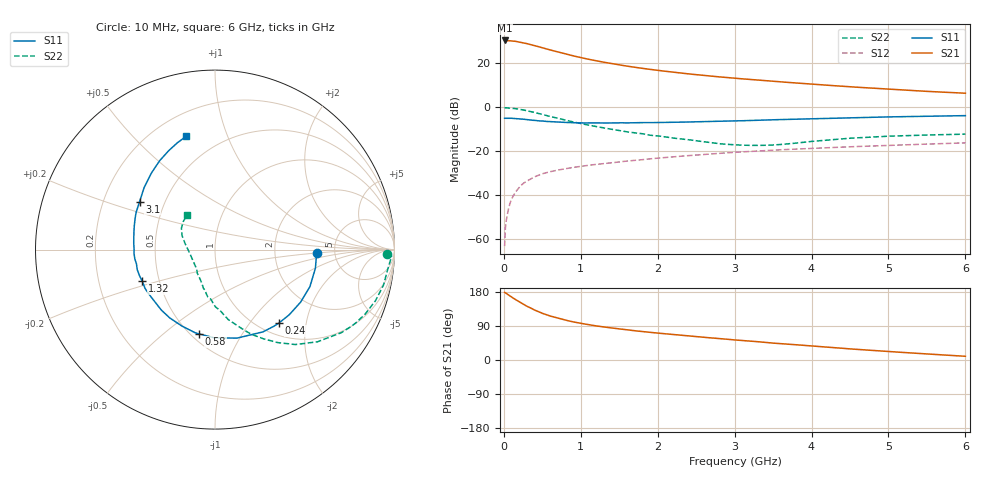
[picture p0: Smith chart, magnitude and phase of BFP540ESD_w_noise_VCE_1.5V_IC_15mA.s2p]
! Infineon Technologies  Discrete & RF Semiconductors
! BFP540ESD
! VCE =  1.5 V,  IC =  15 mA
! Common Emitter S-Parameters:  Nov 2015
# GHz  S  MA  R  50
!  f  S11  S21  S12  S22
! GHz  MAG  ANG  MAG  ANG  MAG  ANG  MAG  ANG
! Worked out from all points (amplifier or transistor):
!   210 points, 10 MHz to 6 GHz, reference 50 ohm
!   highest |S21| = 30.5 dB at 10 MHz (marker M1)
!   |S21| within 3 dB of that: start of sweep to 468.8 MHz
!   unconditionally stable (mu >= 1): start of sweep to 11.27 MHz; 2.365 GHz to end of sweep
!   at 185 MHz: K = 0.16, MSG = 33.4 dB, |S12| = -37.0 dB
!   at 1.52 GHz: K = 0.84, MSG = 22.0 dB, |S12| = -24.7 dB
!   at 6 GHz: K = 1.13, MAG = 9.1 dB, |S12| = -16.1 dB
!   lowest NFmin = 1.03 dB at 900 MHz
!   S11 on the Smith chart (normalised r, x): 10 MHz: 3.62, -0.20; 240 MHz: 1.22, -1.41; 580 MHz: 0.55, -0.67; 1.32 GHz: 0.40, -0.17; 3.1 GHz: 0.36, +0.26; 6 GHz: 0.33, +0.72
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0.01  0.568 -1.9  33.34 178.3  0.0007 83.4  0.9582 -1.5
0.03  0.5663 -6.6  32.9 176.0  0.0026 83.2  0.9794 -3.4
0.05  0.569 -10.5  33.06 173.1  0.0041 86.2  0.9706 -5.7
0.1  0.5677 -21.4  32.63 166.3  0.0082 79.7  0.9596 -11.8
0.15  0.5595 -31.6  31.9 159.7  0.0117 78.8  0.9387 -17.6
0.2  0.5503 -41.4  30.8 153.4  0.0151 74.9  0.9108 -23.2
0.24  0.5426 -48.7  29.78 148.6  0.0179 72.5  0.885 -27.4
0.3  0.5305 -59.8  28.25 141.8  0.0211 68.7  0.8426 -33.3
0.4  0.5083 -76.0  25.43 131.8  0.0264 64.3  0.768 -42.0
0.5  0.4914 -90.7  22.86 123.2  0.031 60.0  0.6926 -49.8
0.58  0.4777 -100.6  20.81 117.7  0.0338 58.0  0.6379 -54.7
0.7  0.464 -113.5  18.32 110.4  0.0375 56.1  0.5665 -61.4
0.8  0.4566 -123.5  16.46 105.0  0.0403 54.5  0.5131 -66.8
1.02  0.4436 -140.1  13.36 96.1  0.0462 52.0  0.4228 -75.7
1.32  0.442 -156.8  10.51 86.7  0.0533 50.4  0.3366 -85.9
1.62  0.4456 -170.3  8.603 79.1  0.0608 49.0  0.2754 -95.4
2.02  0.4541 175.6  6.899 70.6  0.0707 47.0  0.2234 -106.9
2.6  0.4762 159.5  5.331 59.9  0.0852 43.8  0.1658 -126.4
3.1  0.4981 147.5  4.468 51.5  0.0975 40.3  0.1388 -147.3
4.1  0.5591 128.2  3.294 35.5  0.1189 32.1  0.1742 166.4
5.1  0.6128 113.8  2.549 21.0  0.1388 23.7  0.2243 145.6
6  0.6508 104.4  2.104 9.8  0.1564 17.2  0.2472 129.6
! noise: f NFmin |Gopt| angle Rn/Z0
0.9  1.03  0.22  -135  0.11
1.8  1.2  0.25  -147  0.1
2.4  1.21  0.25  -139  0.1
3  1.32  0.29  -136  0.11
4  1.4  0.41  -108  0.2
5  1.57  0.5  -90  0.3
6  1.83  0.54  -91  0.52
